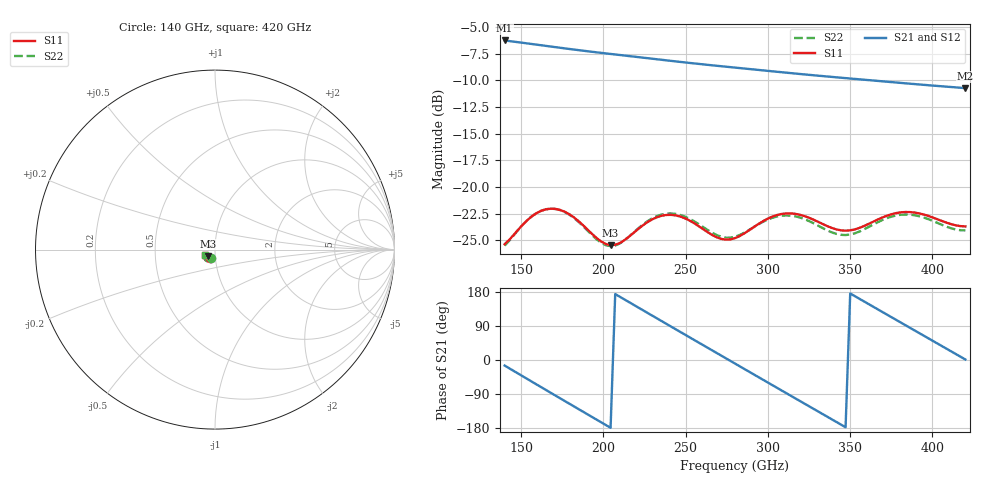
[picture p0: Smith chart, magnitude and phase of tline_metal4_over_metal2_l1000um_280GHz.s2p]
#  GHZ S DB R 50
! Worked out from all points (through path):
!   101 points, 140 GHz to 420 GHz, reference 50 ohm
!   highest |S21| = -6.27 dB at 140 GHz (marker M1); lowest = -10.7 dB at 420 GHz (marker M2)
!   group delay of S21, straight-line fit = 6.98 ps
!   lowest |S11| = -25.4 dB at 204.4 GHz (marker M3), VSWR 1.11, Z = 46.1 - j3.32 ohm
!   |S11| at or under -10 dB: start of sweep to end of sweep
!   |S22| runs from -25.5 to -22.0 dB; largest |S21 - S12| = 0
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140  -25.36 -119.4  -6.27 -14.6  -6.27 -14.6  -25.49 -116.8
154  -23.08 -117.7  -6.55 -50.6  -6.55 -50.6  -23.07 -115.8
165.2  -22.09 -127.4  -6.78 -79.3  -6.78 -79.3  -22.08 -126.0
176.4  -22.30 -138.5  -7.01 -107.8  -7.01 -107.8  -22.33 -137.4
187.6  -23.57 -145.4  -7.22 -136.3  -7.22 -136.3  -23.65 -144.3
204.4  -25.44 -137.8  -7.53 -178.9  -7.53 -178.9  -25.54 -135.9
218.4  -24.29 -129.0  -7.78 145.7  -7.78 145.7  -24.25 -127.0
235.2  -22.70 -136.0  -8.07 103.2  -8.07 103.2  -22.58 -134.5
246.4  -22.75 -143.9  -8.27 75.0  -8.27 75.0  -22.60 -142.8
260.4  -23.92 -149.1  -8.50 39.8  -8.50 39.8  -23.72 -148.5
280  -24.79 -139.1  -8.81 -9.4  -8.81 -9.4  -24.65 -140.1
294  -23.49 -135.7  -9.02 -44.5  -9.02 -44.5  -23.51 -137.1
305.2  -22.64 -140.1  -9.19 -72.6  -9.19 -72.6  -22.77 -141.4
316.4  -22.51 -146.5  -9.36 -100.6  -9.36 -100.6  -22.74 -147.6
327.6  -23.05 -151.0  -9.53 -128.6  -9.53 -128.6  -23.38 -151.8
338.8  -23.83 -150.6  -9.68 -156.5  -9.68 -156.5  -24.25 -150.7
350  -24.06 -146.0  -9.83 175.5  -9.83 175.5  -24.45 -145.0
361.2  -23.45 -142.7  -9.98 147.6  -9.98 147.6  -23.74 -141.3
375.2  -22.54 -145.3  -10.17 112.7  -10.17 112.7  -22.77 -144.1
394.8  -22.58 -153.6  -10.43 63.9  -10.43 63.9  -22.86 -152.7
408.8  -23.35 -155.0  -10.60 29.1  -10.60 29.1  -23.73 -153.6
420  -23.69 -151.8  -10.73 1.3  -10.73 1.3  -24.06 -149.5
